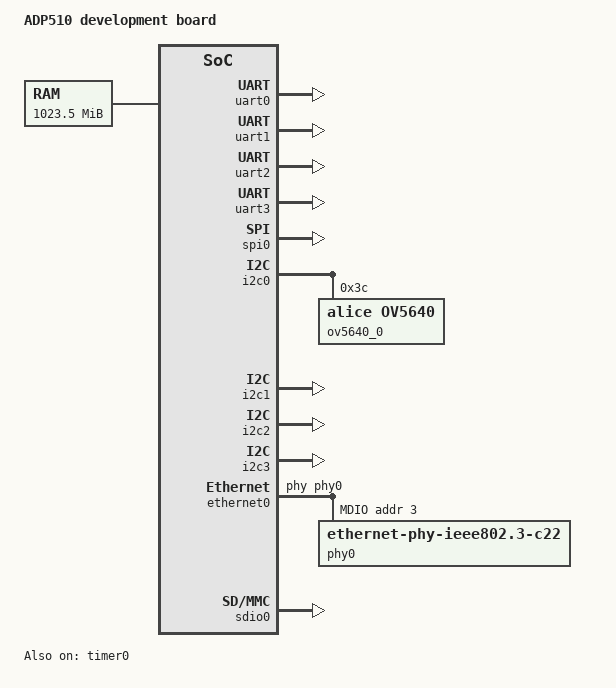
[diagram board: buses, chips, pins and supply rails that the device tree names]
/*
 * ARM Ltd. Juno Platform
 *
 * Copyright (c) 2013-2014 ARM Ltd.
 *
 * This file is licensed under a dual GPLv2 or BSD license.
 */

/dts-v1/;
#include <dt-bindings/interrupt-controller/arm-gic.h>
#include <dt-bindings/arm/coresight-cti-dt.h>
#include "adp510.dtsi"
#include "adp510_Video.dtsi"

/ {
	model = "ADP510 development board";
	compatible = "arm,vexpress"; 
	interrupt-parent = <&gic>; 
	#address-cells = <2>;
	#size-cells = <2>;
	
	aliases {
		serial0 = &uart0;
		serial1 = &uart1;
		serial2 = &uart2;
		serial3 = &uart3;
		/* serial4 = &uart4; */ /* Board Jump Uart */
		ethernet0 = &ethernet0;
		sdhc0 = &sdio0;
	};

	chosen {
		stdout-path = "serial0:115200n8";
	};

	/*
	 * 0x8000 0000 ~ 0xBFFF FFFF  - DDR (1GB)
	 */
	memory@80000000 {
		device_type = "memory";
		/* last 16MB of the first memory area is reserved for secure world use by firmware */
		reg = <0x0 0x80080000 0x0 0x3FF80000>;
	};

	reserved-memory {
 	 	#address-cells = <2>;
  		#size-cells = <2>;
  		ranges;
		display_reserved: framebuffer@b0100000 {
			reg = <0x0 0xb0100000 0x0 0x600000>;
		};
 	};
};
/*
&sram {
	status = "disabled";
};
*/

&timer0 {
	status = "okay";
};
/*
&timer1 {
	status = "okay";
};
*/
&gpio0 {
	status = "okay";
};

&uart0 {
	status = "okay";
};

&uart1 {
	status = "okay";
};

&uart2 {
	status = "okay";
};

&uart3 {
	status = "okay";
};

/*
&uart4 {
	status = "okay";
};
*/

&spi0 {
	status = "okay";
};
/*
&spi1 {
	status = "disabled";
};

&spi2 {
	status = "disabled";
};
*/
&i2c0 {
	status = "okay";
	ov5640_0: camera@3c {
		compatible = "alice,ov5640";
		reg = <0x3c>;
	};
};

&i2c1 {
	status = "okay";
};

&i2c2 {
	status = "okay";
};

&i2c3 {
	status = "okay";
};
/*
&i2s0 {
	status = "disabled";
};

&i2s1 {
	status = "disabled";
};

&i2s2 {
	status = "disabled";
};

&i2s3 {
	status = "disabled";
};
*/
&ethernet0 {
	status = "okay";
	max-speed = <1000>;
	phy-id=<0x2000a231>;
	phy-handle = <&phy0>;
	
	mdio0 {
		#address-cells = <1>;
		#size-cells = <0>;
		compatible = "snps,dwmac-mdio";
		phy0: ethernet-phy@3 {
			compatible = "ethernet-phy-ieee802.3-c22";
			device_type = "ethernet-phy";
			ti,rx-internal-delay = <0x8>;
			ti,tx-internal-delay = <0xa>;
			ti,sgmii-ref-clock-output-enable = <0x1>;
			ti,fifo-depth = <0x1>;
			reg = <3>;
		};
	};
};

/*
&watchdog0 {
	status = "okay";
};
*/

/*
&fb0 {
	status = "okay";
};
*/

&sdio0 {
	status = "okay";
};
